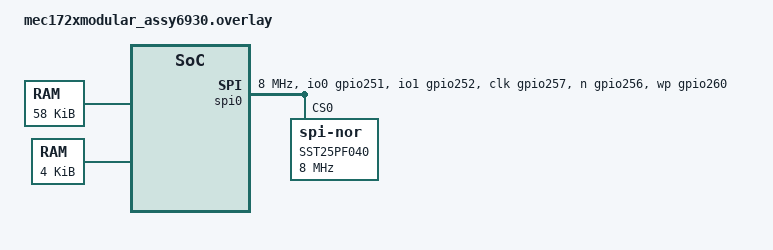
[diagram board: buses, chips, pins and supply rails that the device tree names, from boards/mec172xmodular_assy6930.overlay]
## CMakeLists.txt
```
# SPDX-License-Identifier: Apache-2.0

cmake_minimum_required(VERSION 3.20.0)

find_package(Zephyr REQUIRED HINTS $ENV{ZEPHYR_BASE})
project(ram_retention)

target_sources(app PRIVATE src/main.c)
target_sources(app PRIVATE src/fw_upgrade.c)
```

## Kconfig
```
mainmenu "MCHP firmware update"

source "Kconfig.zephyr"

config APP_SPI_NOR_RESET
	bool
	default y if DT_HAS_MICROCHIP_XEC_SPI_NOR_RESET_ENABLED
	select FLASH_HAS_DRIVER_ENABLED
	select FLASH_HAS_EX_OP
	select FLASH_HAS_PAGE_LAYOUT
	select FLASH_HAS_EXPLICIT_ERASE
```

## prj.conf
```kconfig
# Driver
CONFIG_SPI=y
# CONFIG_SPI_INIT_PRIORITY=49
CONFIG_FLASH=y
# CONFIG_FLASH_EX_OP_ENABLED=y
# CONFIG_FLASH_INIT_PRIORITY=51

# console
CONFIG_CONSOLE=y
CONFIG_UART_CONSOLE=y
CONFIG_LOG=y

#SHELL
CONFIG_SHELL=y
CONFIG_GPIO_SHELL=y
CONFIG_FLASH_SHELL=y
CONFIG_SHELL_PROMPT_UART="MCHP:~$ "

# RETENTION
CONFIG_RETAINED_MEM=y
CONFIG_RETENTION=y

CONFIG_REBOOT=y
```

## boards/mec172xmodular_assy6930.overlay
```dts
/*
 * Copyright (c) 2020 Intel Corporation
 *
 * SPDX-License-Identifier: Apache-2.0
 */


/ {
	chosen {
		zephyr,shell-uart = &uart1;
	};

	aliases {
        tgt-i2c = &i2c_smb_1;
        master-i2c = &i2c_smb_2;
    };

	leds {
		led3: led_1 {
			status = "okay";
		};
		led2: led_2 {
			status = "okay";
		};
	};

	/delete-node/ flash@c0000;
	/delete-node/ memory@118000;
	flash0: flash@c8000 {
		reg = <0x000C8000 0x50000>;
	};

	sram0: memory@118000 {
		compatible = "mmio-sram";
		// reg = <0x00118000 0xf800>;
        reg = <0x00118000 0xe800>;
	};

    retained_mem: memory@127000 {
		compatible = "zephyr,memory-region", "mmio-sram";
		reg = <0x00126800 0x1000>;
		zephyr,memory-region = "SWAP_RAM";
		status = "okay";

		retainedmem {
			compatible = "zephyr,retained-ram";
			status = "okay";
			#address-cells = <1>;
			#size-cells = <1>;

			swap_data0: swap_data@0 {
				compatible = "zephyr,retention";
				status = "okay";
				reg = <0x0 0x1000>;
			};
		};
	};

    spi_gpio_init: spi_gpio_init {
        compatible = "vnd,pinctrl-device";
        pinctrl-0 = < &init_pri_spi_gpio121
                      &init_pri_spi_gpio122
                      &init_pri_spi_gpio123
                      &init_pri_spi_gpio124
                      &init_pri_spi_gpio125
                      &init_pri_spi_gpio126
                      &init_sha_spi_gpio055
                      &init_sha_spi_gpio056
                      &init_sha_spi_gpio223
                      &init_sha_spi_gpio224
                      &init_sha_spi_gpio227
                      &init_sha_spi_gpio016 >;
        pinctrl-names = "default";
        status = "okay";
    };
};

&spi0 {
    compatible = "microchip,xec-qmspi-ldma";
    status = "okay";
    // port-sel = <1>;
    clock-frequency = <DT_FREQ_M(8)>;

    // // For external flash
    // chip-select = < 0x0 >;
    // pinctrl-0 = < &shd_io0_gpio223 
    //               &shd_io1_gpio224
    //               &shd_clk_gpio056
    //               &shd_cs0_n_gpio055 >;
    // gd25lb256: gd25lb256@0 {
	// 	compatible = "jedec,spi-nor";
	// 	size = <DT_SIZE_M(32)>;
	// 	reg = <0>;
	// 	spi-max-frequency = <DT_FREQ_M(8)>;
	// 	jedec-id = [c8 67 19];
	// 	status = "okay";
	// };

    // For internal flash
    pinctrl-0 = < &int_spi_io0_gpio251 
                  &int_spi_io1_gpio252
                  &int_spi_clk_gpio257
                  &int_spi_cs_n_gpio256
                  &int_spi_wp_gpio260 >;
    int_flash: sst25pf040@0 {
        compatible ="jedec,spi-nor";
        size = <DT_SIZE_M(4)>; // 4M bits
        label = "SST25PF040";
        reg = <0>;
        spi-max-frequency = <DT_FREQ_M(8)>; // DT_FREQ_M(40)
        status = "okay";
        jedec-id = [62 06 13];

        // wp-gpios = <MCHP_GPIO_DECODE_260 GPIO_ACTIVE_LOW>;
    };

    pinctrl-names = "default";
};

&pinctrl{
    /* Internal flash */
    /omit-if-no-ref/ int_spi_cs_n_gpio256: int_spi_cs_n_gpio256 {
        pinmux = < MCHP_XEC_PINMUX(0256, MCHP_AF1) >;
    };

    /omit-if-no-ref/ int_spi_clk_gpio257: int_spi_clk_gpio257 {
        pinmux = < MCHP_XEC_PINMUX(0257, MCHP_AF1) >;
    };

    /omit-if-no-ref/ int_spi_io0_gpio251: int_spi_io0_gpio251 {
        pinmux = < MCHP_XEC_PINMUX(0251, MCHP_AF1) >;
    };

    /omit-if-no-ref/ int_spi_io1_gpio252: int_spi_io1_gpio252 {
        pinmux = < MCHP_XEC_PINMUX(0252, MCHP_AF1) >;
    };

    /omit-if-no-ref/ int_spi_wp_gpio260: int_spi_wp_gpio260 {
        pinmux = < MCHP_XEC_PINMUX(0260, MCHP_AF0) >;
    };


    // Init Private SPI
    /omit-if-no-ref/ init_pri_spi_gpio121: init_pri_spi_gpio121 {
        pinmux = < MCHP_XEC_PINMUX(0121, MCHP_AF0) >;
    };
    /omit-if-no-ref/ init_pri_spi_gpio122: init_pri_spi_gpio122 {
        pinmux = < MCHP_XEC_PINMUX(0122, MCHP_AF0) >;
    };
    /omit-if-no-ref/ init_pri_spi_gpio123: init_pri_spi_gpio123 {
        pinmux = < MCHP_XEC_PINMUX(0123, MCHP_AF0) >;
    };
    /omit-if-no-ref/ init_pri_spi_gpio124: init_pri_spi_gpio124 {
        pinmux = < MCHP_XEC_PINMUX(0124, MCHP_AF0) >;
    };
    /omit-if-no-ref/ init_pri_spi_gpio125: init_pri_spi_gpio125 {
        pinmux = < MCHP_XEC_PINMUX(0125, MCHP_AF0) >;
    };
    /omit-if-no-ref/ init_pri_spi_gpio126: init_pri_spi_gpio126 {
        pinmux = < MCHP_XEC_PINMUX(0126, MCHP_AF0) >;
    };


    // Init Shared SPI
    /omit-if-no-ref/ init_sha_spi_gpio055: init_sha_spi_gpio055 {
        pinmux = < MCHP_XEC_PINMUX(0055, MCHP_AF0) >;
    };
    /omit-if-no-ref/ init_sha_spi_gpio056: init_sha_spi_gpio056 {
        pinmux = < MCHP_XEC_PINMUX(0056, MCHP_AF0) >;
    };
    /omit-if-no-ref/ init_sha_spi_gpio223: init_sha_spi_gpio223 {
        pinmux = < MCHP_XEC_PINMUX(0223, MCHP_AF0) >;
    };
    /omit-if-no-ref/ init_sha_spi_gpio224: init_sha_spi_gpio224 {
        pinmux = < MCHP_XEC_PINMUX(0224, MCHP_AF0) >;
    };
    /omit-if-no-ref/ init_sha_spi_gpio227: init_sha_spi_gpio227 {
        pinmux = < MCHP_XEC_PINMUX(0227, MCHP_AF0) >;
    };
    /omit-if-no-ref/ init_sha_spi_gpio016: init_sha_spi_gpio016 {
        pinmux = < MCHP_XEC_PINMUX(0016, MCHP_AF0) >;
    };
};
```

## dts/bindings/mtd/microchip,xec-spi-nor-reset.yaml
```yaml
description: SPI NOR flash with standard read, page program, sector erase, and reset operations; no JEDEC ID probing

compatible: "microchip,xec-spi-nor-reset"

include: spi-device.yaml

properties:
  reg:
    required: true

  spi-max-frequency:
    required: true

  size:
    type: int
    required: true
    description: Flash capacity in bits
```

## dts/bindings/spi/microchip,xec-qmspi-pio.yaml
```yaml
description: Microchip XEC QMSPI controller using programmed I/O FIFO transfers

compatible: "microchip,xec-qmspi-pio"

include: [spi-controller.yaml, pinctrl-device.yaml]

properties:
  reg:
    required: true

  pinctrl-0:
    required: true

  pinctrl-names:
    required: true

  input-clock-frequency:
    type: int
    required: true
    description: QMSPI input clock frequency in Hz

  pcr-sleep-reg:
    type: int
    required: true
    description: Address of the PCR sleep-enable register controlling QMSPI

  pcr-sleep-bit:
    type: int
    required: true
    description: Bit position in pcr-sleep-reg that disables QMSPI sleep

  mode3-signaling:
    type: int
    default: 7
    enum: [3, 7]
    description: QMSPI mode-register signaling value for SPI mode 3

  lines:
    type: int
    const: 1
    required: true
    description: Number of QMSPI data lines; this PIO driver supports single-line mode

  chip_select:
    type: int
    default: 0
    enum: [0, 1]
    description: Hardware QMSPI chip-select index, 0 or 1

  dcsckon:
    type: int
    default: 6
    description: Delay from chip-select assertion to the first clock edge

  dckcsoff:
    type: int
    default: 4
    description: Delay from the last clock edge to chip-select deassertion

  dldh:
    type: int
    default: 6
    description: Delay from chip-select deassertion to HOLD and WP drive

  dcsda:
    type: int
    default: 6
    description: Delay from chip-select deassertion to the next assertion

  mode_alt1:
    type: int
    default: 0
    description: Initial MODE_ALT1 register value restored after controller reset

  taps:
    type: int
    default: 0
    description: Initial TAPS register value restored after controller reset

  taps_adj:
    type: int
    default: 0
    description: Initial TAPS_ADJ register value restored after controller reset

  taps_ctrl:
    type: int
    default: 0
    description: Initial TAPS_CTRL register value restored after controller reset
```

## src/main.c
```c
/*
 * Copyright (c) 2012-2014 Wind River Systems, Inc.
 *
 * SPDX-License-Identifier: Apache-2.0
 */

#include <stdio.h>

#include <zephyr/logging/log.h>

LOG_MODULE_REGISTER(main, LOG_LEVEL_INF);

int main(void)
{
	LOG_INF("Hello World! %s", CONFIG_BOARD_TARGET);

	return 0;
}


#include <zephyr/init.h>

static int init_config(void) {
    int ret;

    return 0;
}

SYS_INIT(init_config, EARLY, 0);
```

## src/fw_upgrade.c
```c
#include <zephyr/kernel.h>
#include <zephyr/device.h>
#include <zephyr/devicetree.h>
#include <zephyr/drivers/flash.h>
// #include <zephyr/drivers/retained_mem.h>
// #include <zephyr/retention/retention.h>
#include <zephyr/logging/log.h>

#include <zephyr/arch/cpu.h> // 引入 ARM 核心底層 API


LOG_MODULE_REGISTER(fw_upgrade, LOG_LEVEL_INF);

#define PAYLOAD_BUF_SIZE 2048

// 確保結構體記憶體對齊與排列順序與 Python 一致
struct __packed shared_exchange_mem {
    uint8_t  payload_buffer[PAYLOAD_BUF_SIZE]; // 1. Payload Buffer (2KB)
    uint32_t total_bin_size;                  // 2. 總 Bin 大小
    uint32_t spi_start_addr;                 // 3. SPI 起始點
    uint32_t current_spi_addr;               // 4. 本次 SPI 寫入起點
    uint32_t chunk_size;                     // 5. 本次 chunk 大小
    volatile uint8_t busy_bit;               // 6. 1: Host寫完/MCU忙碌中, 0: MCU寫完/閒置
};

// static const struct device *retain_dev = DEVICE_DT_GET(DT_NODELABEL(swap_data0));

static struct shared_exchange_mem *shared_mem = (volatile struct shared_exchange_mem *)(0x126800); // swap_data0
static const struct device *flash_dev = DEVICE_DT_GET(DT_NODELABEL(int_flash));

static void service(void)
{
    int ret = 0;
    bool is_first_chunk = true;

    if (!device_is_ready(flash_dev)) {
        LOG_ERR("Flash device not ready");
        return;
    }

    LOG_INF("MCU IPC Exchange Service Started.");

    memset(shared_mem, 0, sizeof(struct shared_exchange_mem));

    while (1) {
        // 6. 等待 busy_bit 立成 1
        if (shared_mem->busy_bit == 0) {
            k_msleep(10); // 等待時 sleep 10ms
            __DSB();
            continue;
        }

        // 第一次收到 payload 時，清除整顆外部 flash
        if (is_first_chunk) {
            LOG_INF("First chunk received. Erasing whole external flash...");
            LOG_INF("Address: 0x%08X, Total Size: 0x%08X", shared_mem->spi_start_addr, shared_mem->total_bin_size);
            // 這裡假設清除大小。實務上可以從 flash_get_page_info 或直接填入晶片總容量
            // 為了展示安全，這裡使用全晶片擦除（注意：可能需要數秒到數十秒，視晶片而定）
            // 如果擦除時間過長，Host 端的 wait 5ms 可能需要調整，或在這裡餵 Watchdog
            ret = flash_erase(flash_dev, shared_mem->spi_start_addr, shared_mem->total_bin_size);
            if (ret != 0) {
                LOG_ERR("Flash erase failed at 0x%08X, len: 0x%08X", shared_mem->spi_start_addr, shared_mem->total_bin_size);
            }
            LOG_INF("image: 0x%02x, 0x%02x, 0x%02x, 0x%02x", 
                shared_mem->payload_buffer[0], 
                shared_mem->payload_buffer[1], 
                shared_mem->payload_buffer[2], 
                shared_mem->payload_buffer[3]);
            is_first_chunk = false;
            LOG_INF("Flash erase completed.");
        }

        // 寫入本次 chunk 資料到外部 SPI Flash
        if (shared_mem->chunk_size > 0 && shared_mem->chunk_size <= PAYLOAD_BUF_SIZE) {
            ret = flash_write(flash_dev, 
                                  shared_mem->current_spi_addr, 
                                  shared_mem->payload_buffer, 
                                  shared_mem->chunk_size);
            if (ret != 0) {
                LOG_ERR("Flash write failed at 0x%08X", shared_mem->current_spi_addr);
            }
        }


        LOG_INF("0x%08x / 0x%08x written to SPI Flash.", shared_mem->current_spi_addr - shared_mem->spi_start_addr, shared_mem->total_bin_size);
        // 寫入結束，將 busy_bit 清除為 0，通知 Host 可以發送下一包
        shared_mem->busy_bit = 0;
    }
}


K_THREAD_DEFINE(fw_upgrade_id, 4096, service, NULL, NULL, NULL, 10,
                0, 0);


#include <zephyr/init.h>
#include <zephyr/drivers/pinctrl.h>

static int gpio_init(void) {

    PINCTRL_DT_DEFINE(DT_NODELABEL(spi_gpio_init));
    const struct pinctrl_dev_config *spi_gpio_init_pcfg =
        PINCTRL_DT_DEV_CONFIG_GET(DT_NODELABEL(spi_gpio_init));
    int ret = pinctrl_apply_state(spi_gpio_init_pcfg, PINCTRL_STATE_DEFAULT);
    if (ret < 0) {
        LOG_ERR("Failed to apply pinctrl state: %d", ret);
        return ret;
    }
	LOG_INF("SPI GPIO initialized successfully");

    return 0;
}

SYS_INIT(gpio_init, POST_KERNEL, 0);
```

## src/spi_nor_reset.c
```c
#define DT_DRV_COMPAT microchip_xec_spi_nor_reset

#include <errno.h>
#include <zephyr/device.h>
#include <zephyr/drivers/flash.h>
#include <zephyr/drivers/spi.h>
#include <zephyr/kernel.h>
#include <zephyr/logging/log.h>
#include <zephyr/sys/util.h>

LOG_MODULE_REGISTER(spi_nor_reset, CONFIG_FLASH_LOG_LEVEL);

#define SPI_NOR_CMD_RESET_ENABLE 0x66
#define SPI_NOR_CMD_RESET_MEMORY 0x99
#define SPI_NOR_CMD_READ 0x03
#define SPI_NOR_CMD_PAGE_PROGRAM 0x02
#define SPI_NOR_CMD_READ_STATUS 0x05
#define SPI_NOR_CMD_WRITE_ENABLE 0x06
#define SPI_NOR_CMD_SECTOR_ERASE 0x20
#define SPI_NOR_STATUS_WIP BIT(0)
#define SPI_NOR_ADDRESS_BYTES 3u
#define SPI_NOR_PAGE_SIZE 256u
#define SPI_NOR_SECTOR_SIZE 4096u
#define SPI_NOR_READY_TIMEOUT_MS 10000u
#define SPI_NOR_READY_POLL_MS 1u

struct spi_nor_reset_config {
	struct spi_dt_spec spi;
	size_t flash_size;
#if defined(CONFIG_FLASH_PAGE_LAYOUT)
	struct flash_pages_layout pages_layout;
#endif
};

struct spi_nor_reset_data {
	struct k_mutex lock;
};

static const struct flash_parameters spi_nor_reset_parameters = {
	.write_block_size = 1,
	.erase_value = 0xff,
};

#if defined(CONFIG_FLASH_PAGE_LAYOUT)
static void spi_nor_reset_pages_layout(const struct device *dev,
				       const struct flash_pages_layout **layout,
				       size_t *layout_size)
{
	const struct spi_nor_reset_config *config = dev->config;

	*layout = &config->pages_layout;
	*layout_size = 1;
}
#endif

static bool spi_nor_reset_range_valid(const struct spi_nor_reset_config *config,
				     off_t offset, size_t len)
{
	return offset >= 0 && (uint64_t)offset <= config->flash_size &&
	       len <= config->flash_size - (size_t)offset;
}

static int spi_nor_reset_write_command(const struct device *dev,
				       const uint8_t *command, size_t command_len,
				       const void *data, size_t data_len)
{
	const struct spi_nor_reset_config *config = dev->config;
	struct spi_buf buffers[2] = {
		{
			.buf = (void *)command,
			.len = command_len,
		},
		{
			.buf = (void *)data,
			.len = data_len,
		},
	};
	struct spi_buf_set tx_buffers = {
		.buffers = buffers,
		.count = data_len ? ARRAY_SIZE(buffers) : 1,
	};

	return spi_write_dt(&config->spi, &tx_buffers);
}

static int spi_nor_reset_read_command(const struct device *dev,
				      const uint8_t *command, size_t command_len,
				      void *data, size_t data_len)
{
	const struct spi_nor_reset_config *config = dev->config;
	struct spi_buf tx_buffer = {
		.buf = (void *)command,
		.len = command_len,
	};
	struct spi_buf rx_buffer = {
		.buf = data,
		.len = data_len,
	};
	struct spi_buf_set tx_buffers = {
		.buffers = &tx_buffer,
		.count = 1,
	};
	struct spi_buf_set rx_buffers = {
		.buffers = &rx_buffer,
		.count = 1,
	};

	int ret = spi_transceive_dt(&config->spi, &tx_buffers, &rx_buffers);

	if (ret) {
		LOG_ERR("SPI command 0x%02x (%zu TX, %zu RX) failed: %d",
			command[0], command_len, data_len, ret);
	}

	return ret;
}

static void spi_nor_reset_make_address(uint8_t *command, uint8_t opcode, off_t offset)
{
	command[0] = opcode;
	command[1] = (uint8_t)(offset >> 16);
	command[2] = (uint8_t)(offset >> 8);
	command[3] = (uint8_t)offset;
}

static int spi_nor_reset_wait_ready(const struct device *dev)
{
	uint8_t command = SPI_NOR_CMD_READ_STATUS;
	uint8_t status;
	int64_t deadline = k_uptime_get() + SPI_NOR_READY_TIMEOUT_MS;
	int ret;

	do {
		ret = spi_nor_reset_read_command(dev, &command, sizeof(command),
						&status, sizeof(status));
		if (ret) {
			return ret;
		}
		if (!(status & SPI_NOR_STATUS_WIP)) {
			return 0;
		}
		k_msleep(SPI_NOR_READY_POLL_MS);
	} while (k_uptime_get() < deadline);

	return -ETIMEDOUT;
}

static int spi_nor_reset_write_enable(const struct device *dev)
{
	uint8_t command = SPI_NOR_CMD_WRITE_ENABLE;

	return spi_nor_reset_write_command(dev, &command, sizeof(command), NULL, 0);
}

static int spi_nor_reset_command(const struct device *dev)
{
	const struct spi_nor_reset_config *config = dev->config;
	uint8_t command = SPI_NOR_CMD_RESET_ENABLE;
	struct spi_buf tx_buffer = {
		.buf = &command,
		.len = sizeof(command),
	};
	struct spi_buf_set tx_buffers = {
		.buffers = &tx_buffer,
		.count = 1,
	};
	int ret;

	ret = spi_write_dt(&config->spi, &tx_buffers);
	if (ret) {
		LOG_ERR("Reset-enable command failed: %d", ret);
		return ret;
	}

	command = SPI_NOR_CMD_RESET_MEMORY;
	ret = spi_write_dt(&config->spi, &tx_buffers);
	if (ret) {
		LOG_ERR("Reset-memory command failed: %d", ret);
	}

	return ret;
}

static int spi_nor_reset_read(const struct device *dev, off_t offset,
			      void *data, size_t len)
{
	const struct spi_nor_reset_config *config = dev->config;
	uint8_t command[SPI_NOR_ADDRESS_BYTES + 1u];
	int ret;

	if (!spi_nor_reset_range_valid(config, offset, len) || (len && data == NULL)) {
		return -EINVAL;
	}
	if (!len) {
		return 0;
	}

	spi_nor_reset_make_address(command, SPI_NOR_CMD_READ, offset);
	k_mutex_lock(&((struct spi_nor_reset_data *)dev->data)->lock, K_FOREVER);
	ret = spi_nor_reset_wait_ready(dev);
	if (!ret) {
		ret = spi_nor_reset_read_command(dev, command, sizeof(command), data, len);
	}
	k_mutex_unlock(&((struct spi_nor_reset_data *)dev->data)->lock);
	if (ret) {
		LOG_ERR("Flash read at 0x%lx (%zu bytes) failed: %d",
			(long)offset, len, ret);
	}

	return ret;
}

static int spi_nor_reset_write(const struct device *dev, off_t offset,
			       const void *data, size_t len)
{
	const struct spi_nor_reset_config *config = dev->config;
	const uint8_t *source = data;
	uint8_t command[SPI_NOR_ADDRESS_BYTES + 1u];
	int ret = 0;

	if (!spi_nor_reset_range_valid(config, offset, len) || (len && data == NULL)) {
		return -EINVAL;
	}
	if (!len) {
		return 0;
	}

	k_mutex_lock(&((struct spi_nor_reset_data *)dev->data)->lock, K_FOREVER);
	while (len) {
		size_t chunk = MIN(len, SPI_NOR_PAGE_SIZE -
					    ((size_t)offset % SPI_NOR_PAGE_SIZE));

		ret = spi_nor_reset_wait_ready(dev);
		if (ret) {
			break;
		}
		ret = spi_nor_reset_write_enable(dev);
		if (ret) {
			break;
		}
		spi_nor_reset_make_address(command, SPI_NOR_CMD_PAGE_PROGRAM, offset);
		ret = spi_nor_reset_write_command(dev, command, sizeof(command),
						 source, chunk);
		if (ret) {
			break;
		}
		ret = spi_nor_reset_wait_ready(dev);
		if (ret) {
			break;
		}

		offset += chunk;
		source += chunk;
		len -= chunk;
	}
	k_mutex_unlock(&((struct spi_nor_reset_data *)dev->data)->lock);

	return ret;
}

static int spi_nor_reset_erase(const struct device *dev, off_t offset, size_t size)
{
	const struct spi_nor_reset_config *config = dev->config;
	uint8_t command[SPI_NOR_ADDRESS_BYTES + 1u];
	int ret = 0;

	if (!spi_nor_reset_range_valid(config, offset, size) ||
	    ((size_t)offset % SPI_NOR_SECTOR_SIZE) != 0u ||
	    (size % SPI_NOR_SECTOR_SIZE) != 0u) {
		return -EINVAL;
	}
	if (!size) {
		return 0;
	}

	k_mutex_lock(&((struct spi_nor_reset_data *)dev->data)->lock, K_FOREVER);
	while (size) {
		ret = spi_nor_reset_wait_ready(dev);
		if (ret) {
			break;
		}
		ret = spi_nor_reset_write_enable(dev);
		if (ret) {
			break;
		}
		spi_nor_reset_make_address(command, SPI_NOR_CMD_SECTOR_ERASE, offset);
		ret = spi_nor_reset_write_command(dev, command, sizeof(command), NULL, 0);
		if (ret) {
			break;
		}
		ret = spi_nor_reset_wait_ready(dev);
		if (ret) {
			break;
		}

		offset += SPI_NOR_SECTOR_SIZE;
		size -= SPI_NOR_SECTOR_SIZE;
	}
	k_mutex_unlock(&((struct spi_nor_reset_data *)dev->data)->lock);

	return ret;
}

static const struct flash_parameters *spi_nor_reset_get_parameters(const struct device *dev)
{
	ARG_UNUSED(dev);

	return &spi_nor_reset_parameters;
}

#if defined(CONFIG_FLASH_EX_OP_ENABLED)
static int spi_nor_reset_ex_op(const struct device *dev, uint16_t code,
			       const uintptr_t in, void *out)
{
	ARG_UNUSED(in);
	ARG_UNUSED(out);

	if (code != FLASH_EX_OP_RESET) {
		return -ENOTSUP;
	}

	k_mutex_lock(&((struct spi_nor_reset_data *)dev->data)->lock, K_FOREVER);
	int ret = spi_nor_reset_command(dev);
	k_mutex_unlock(&((struct spi_nor_reset_data *)dev->data)->lock);

	return ret;
}
#endif

static int spi_nor_reset_init(const struct device *dev)
{
	const struct spi_nor_reset_config *config = dev->config;

	if (!spi_is_ready_dt(&config->spi)) {
		LOG_ERR("SPI bus is not ready");
		return -ENODEV;
	}

	k_mutex_init(&((struct spi_nor_reset_data *)dev->data)->lock);
	return spi_nor_reset_command(dev);
}

static const struct flash_driver_api spi_nor_reset_api = {
	.read = spi_nor_reset_read,
	.write = spi_nor_reset_write,
	.erase = spi_nor_reset_erase,
	.get_parameters = spi_nor_reset_get_parameters,
#if defined(CONFIG_FLASH_PAGE_LAYOUT)
	.page_layout = spi_nor_reset_pages_layout,
#endif
#if defined(CONFIG_FLASH_EX_OP_ENABLED)
	.ex_op = spi_nor_reset_ex_op,
#endif
};

#define SPI_NOR_RESET_DEFINE(inst) \
	static struct spi_nor_reset_data spi_nor_reset_data_##inst; \
	static const struct spi_nor_reset_config spi_nor_reset_config_##inst = { \
		.spi = SPI_DT_SPEC_INST_GET(inst, \
			SPI_OP_MODE_MASTER | SPI_TRANSFER_MSB | SPI_WORD_SET(8), 0), \
		.flash_size = DT_INST_PROP(inst, size) / 8u, \
		IF_ENABLED(CONFIG_FLASH_PAGE_LAYOUT, ( \
			.pages_layout = { \
				.pages_count = DT_INST_PROP(inst, size) / 8u / \
					SPI_NOR_SECTOR_SIZE, \
				.pages_size = SPI_NOR_SECTOR_SIZE, \
			},)) \
	}; \
	DEVICE_DT_INST_DEFINE(inst, spi_nor_reset_init, NULL, \
			      &spi_nor_reset_data_##inst, \
			      &spi_nor_reset_config_##inst, POST_KERNEL, \
			      CONFIG_FLASH_INIT_PRIORITY, &spi_nor_reset_api)

DT_INST_FOREACH_STATUS_OKAY(SPI_NOR_RESET_DEFINE)
```

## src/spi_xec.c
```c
#define DT_DRV_COMPAT microchip_xec_qmspi_pio

#include <errno.h>
#include <zephyr/device.h>
#include <zephyr/drivers/pinctrl.h>
#include <zephyr/drivers/spi.h>
#include <zephyr/kernel.h>
#include <zephyr/logging/log.h>
#include <zephyr/sys/sys_io.h>
#include <zephyr/sys/util.h>

LOG_MODULE_REGISTER(spi_xec_pio, CONFIG_SPI_LOG_LEVEL);

#include <spi/spi_context.h>

#define QMSPI_MODE_OFS              0x00u
#define QMSPI_CTRL_OFS              0x04u
#define QMSPI_EXE_OFS               0x08u
#define QMSPI_STS_OFS               0x10u
#define QMSPI_IEN_OFS               0x18u
#define QMSPI_TX_FIFO_OFS           0x20u
#define QMSPI_RX_FIFO_OFS           0x24u
#define QMSPI_CSTM_OFS              0x28u
#define QMSPI_DESCR0_OFS            0x30u
#define QMSPI_MODE_ALT1_OFS         0xc0u
#define QMSPI_TAPS_OFS               0xd0u
#define QMSPI_TAPS_ADJ_OFS           0xd4u
#define QMSPI_TAPS_CTRL_OFS          0xd8u

#define QMSPI_MODE_ACTIVATE         BIT(0)
#define QMSPI_MODE_SOFT_RESET       BIT(1)
#define QMSPI_MODE_SIG_MASK         0x00000700u
#define QMSPI_MODE_CS_MASK          0x00003000u
#define QMSPI_MODE_FDIV_MASK        0xffff0000u
#define QMSPI_MODE_SIG_POS          8u
#define QMSPI_MODE_CS_POS           12u
#define QMSPI_MODE_FDIV_POS         16u

#define QMSPI_CTRL_IFM_MASK         0x03u
#define QMSPI_CTRL_IFM_SINGLE       0x00u
#define QMSPI_CTRL_TX_DATA          BIT(2)
#define QMSPI_CTRL_RX_ENABLE        BIT(6)
#define QMSPI_CTRL_UNITS_BITS       0x00000000u
#define QMSPI_CTRL_UNITS_BYTES      BIT(10)
#define QMSPI_CTRL_DESCR_LAST       BIT(16)
#define QMSPI_CTRL_DESCR_ENABLE     BIT(16)
#define QMSPI_CTRL_DESCR0           0x00000000u
#define QMSPI_CTRL_MAX_UNITS        0x7fffu
#define QMSPI_CTRL_UNITS_POS        17u

#define QMSPI_EXE_START             BIT(0)
#define QMSPI_EXE_STOP              BIT(1)
#define QMSPI_EXE_CLEAR_FIFOS       BIT(2)

#define QMSPI_STS_DONE              BIT(0)
#define QMSPI_STS_TX_ERROR          BIT(2)
#define QMSPI_STS_RX_ERROR          BIT(3)
#define QMSPI_STS_PROGRAM_ERROR     BIT(4)
#define QMSPI_STS_TX_FULL           BIT(8)
#define QMSPI_STS_RX_EMPTY          BIT(13)
#define QMSPI_STS_ACTIVE            BIT(16)
#define QMSPI_STS_CLEAR_MASK        0x0000cc7fu
#define QMSPI_STS_ERROR_MASK        (QMSPI_STS_TX_ERROR | QMSPI_STS_RX_ERROR | \
					 QMSPI_STS_PROGRAM_ERROR)

#define QMSPI_FIFO_DEPTH            8u
#define QMSPI_TRANSFER_TIMEOUT_MS   100u

struct spi_xec_config {
	uintptr_t base;
	uint32_t input_clock_hz;
	uint32_t cs_timing;
	uintptr_t pcr_sleep_reg;
	uint8_t mode3_signaling;
	uint8_t pcr_sleep_bit;
	uint8_t chip_select;
	const struct pinctrl_dev_config *pinctrl;
};

struct spi_xec_data {
	struct spi_context ctx;
};

static inline uint32_t qmspi_read(const struct spi_xec_config *cfg, uint32_t offset)
{
	return sys_read32(cfg->base + offset);
}

static inline void qmspi_write(const struct spi_xec_config *cfg, uint32_t offset,
			       uint32_t value)
{
	sys_write32(value, cfg->base + offset);
}

static int qmspi_reset(const struct spi_xec_config *cfg)
{
	uint32_t timing[5];
	uint32_t mode;

	mode = qmspi_read(cfg, QMSPI_MODE_OFS);
	timing[0] = qmspi_read(cfg, QMSPI_CSTM_OFS);
	timing[1] = qmspi_read(cfg, QMSPI_MODE_ALT1_OFS);
	timing[2] = qmspi_read(cfg, QMSPI_TAPS_OFS);
	timing[3] = qmspi_read(cfg, QMSPI_TAPS_ADJ_OFS);
	timing[4] = qmspi_read(cfg, QMSPI_TAPS_CTRL_OFS);

	qmspi_write(cfg, QMSPI_MODE_OFS, QMSPI_MODE_SOFT_RESET);
	for (uint32_t timeout = 0; timeout < QMSPI_TRANSFER_TIMEOUT_MS; timeout++) {
		if (!(qmspi_read(cfg, QMSPI_MODE_OFS) & QMSPI_MODE_SOFT_RESET)) {
			qmspi_write(cfg, QMSPI_MODE_OFS,
				    mode & ~(QMSPI_MODE_ACTIVATE | QMSPI_MODE_SOFT_RESET));
			qmspi_write(cfg, QMSPI_CSTM_OFS, timing[0]);
			qmspi_write(cfg, QMSPI_MODE_ALT1_OFS, timing[1]);
			qmspi_write(cfg, QMSPI_TAPS_OFS, timing[2]);
			qmspi_write(cfg, QMSPI_TAPS_ADJ_OFS, timing[3]);
			qmspi_write(cfg, QMSPI_TAPS_CTRL_OFS, timing[4]);
			qmspi_write(cfg, QMSPI_IEN_OFS, 0u);
			qmspi_write(cfg, QMSPI_CTRL_OFS, QMSPI_CTRL_IFM_SINGLE);
			qmspi_write(cfg, QMSPI_EXE_OFS, QMSPI_EXE_CLEAR_FIFOS);
			qmspi_write(cfg, QMSPI_STS_OFS, QMSPI_STS_CLEAR_MASK);
			return 0;
		}
		k_busy_wait(1);
	}

	return -ETIMEDOUT;
}

static int qmspi_wait_done(const struct spi_xec_config *cfg, bool receive,
			   uint8_t **rx, size_t remaining)
{
	int64_t deadline = k_uptime_get() + QMSPI_TRANSFER_TIMEOUT_MS;

	while (true) {
		uint32_t status = qmspi_read(cfg, QMSPI_STS_OFS);

		if (status & QMSPI_STS_ERROR_MASK) {
			return -EIO;
		}

		if (receive && remaining && !(status & QMSPI_STS_RX_EMPTY)) {
			uint8_t value = sys_read8(cfg->base + QMSPI_RX_FIFO_OFS);

			if (*rx) {
				*(*rx)++ = value;
			}
			remaining--;
		}

		if ((status & QMSPI_STS_DONE) && (!receive || remaining == 0u)) {
			return 0;
		}

		if (k_uptime_get() >= deadline) {
			return -ETIMEDOUT;
		}

		k_busy_wait(1);
	}
}

static int qmspi_transfer_chunk(const struct spi_xec_config *cfg,
				const uint8_t *tx, uint8_t *rx, size_t len,
				bool dummy_tx)
{
	uint32_t descriptor;
	size_t queued = 0;
	size_t received = 0;
	int64_t deadline = k_uptime_get() + QMSPI_TRANSFER_TIMEOUT_MS;
	bool receive = rx != NULL || (tx == NULL && !dummy_tx);

	if (receive) {
		descriptor = QMSPI_CTRL_IFM_SINGLE | QMSPI_CTRL_RX_ENABLE |
			     QMSPI_CTRL_UNITS_BYTES | QMSPI_CTRL_DESCR_LAST |
			     ((uint32_t)len << QMSPI_CTRL_UNITS_POS);
	} else if (dummy_tx) {
		descriptor = QMSPI_CTRL_IFM_SINGLE | QMSPI_CTRL_UNITS_BITS |
			     QMSPI_CTRL_DESCR_LAST |
			     ((uint32_t)(len * 8u) << QMSPI_CTRL_UNITS_POS);
	} else {
		descriptor = QMSPI_CTRL_IFM_SINGLE | QMSPI_CTRL_TX_DATA |
			     QMSPI_CTRL_UNITS_BYTES | QMSPI_CTRL_DESCR_LAST |
			     ((uint32_t)len << QMSPI_CTRL_UNITS_POS);
	}

	qmspi_write(cfg, QMSPI_DESCR0_OFS, descriptor);
	qmspi_write(cfg, QMSPI_CTRL_OFS,
		    QMSPI_CTRL_IFM_SINGLE | QMSPI_CTRL_DESCR_ENABLE |
		    QMSPI_CTRL_DESCR0);
	qmspi_write(cfg, QMSPI_STS_OFS, QMSPI_STS_CLEAR_MASK);

	if (!receive && !dummy_tx) {
		while (queued < len && queued < QMSPI_FIFO_DEPTH) {
			if (qmspi_read(cfg, QMSPI_STS_OFS) & QMSPI_STS_TX_FULL) {
				break;
			}
			sys_write8(tx[queued++], cfg->base + QMSPI_TX_FIFO_OFS);
		}
	}

	qmspi_write(cfg, QMSPI_EXE_OFS, QMSPI_EXE_START);

	if (!receive && !dummy_tx) {
		while (queued < len) {
			uint32_t status = qmspi_read(cfg, QMSPI_STS_OFS);

			if (status & QMSPI_STS_ERROR_MASK) {
				return -EIO;
			}
			if (!(status & QMSPI_STS_TX_FULL)) {
				sys_write8(tx[queued++], cfg->base + QMSPI_TX_FIFO_OFS);
			}
			if (k_uptime_get() >= deadline) {
				return -ETIMEDOUT;
			}
			k_busy_wait(1);
		}
	}

	if (receive) {
		while (received < len) {
			uint32_t status = qmspi_read(cfg, QMSPI_STS_OFS);

			if (status & QMSPI_STS_ERROR_MASK) {
				return -EIO;
			}
			if (!(status & QMSPI_STS_RX_EMPTY)) {
				uint8_t value = sys_read8(cfg->base + QMSPI_RX_FIFO_OFS);

				if (rx) {
					rx[received] = value;
				}
				received++;
			}
			if (k_uptime_get() >= deadline) {
				return -ETIMEDOUT;
			}
			k_busy_wait(1);
		}
	}

	return qmspi_wait_done(cfg, false, NULL, 0);
}

static int qmspi_transfer_buffer(const struct spi_xec_config *cfg,
				 const struct spi_buf *buf, bool is_tx)
{
	const uint8_t *tx = is_tx ? buf->buf : NULL;
	uint8_t *rx = is_tx ? NULL : buf->buf;
	size_t remaining = buf->len;
	bool dummy_tx = is_tx && buf->buf == NULL;

	while (remaining) {
		size_t max_chunk = dummy_tx ? QMSPI_CTRL_MAX_UNITS / 8u :
						 QMSPI_CTRL_MAX_UNITS;
		size_t chunk = MIN(remaining, max_chunk);
		int ret = qmspi_transfer_chunk(cfg, tx, rx, chunk, dummy_tx);

		if (ret) {
			return ret;
		}
		if (tx) {
			tx += chunk;
		}
		if (rx) {
			rx += chunk;
		}
		remaining -= chunk;
	}

	return 0;
}

static int qmspi_configure(const struct device *dev, const struct spi_config *spi_cfg)
{
	const struct spi_xec_config *cfg = dev->config;
	struct spi_xec_data *data = dev->data;
	uint32_t mode;
	uint32_t signaling;
	uint32_t divider;
	uint32_t operation;

	if (!spi_cfg) {
		return -EINVAL;
	}
	if (spi_context_configured(&data->ctx, spi_cfg)) {
		return 0;
	}
	operation = spi_cfg->operation;
	if (operation & (SPI_TRANSFER_LSB | SPI_OP_MODE_SLAVE | SPI_MODE_LOOP |
			 SPI_HALF_DUPLEX | SPI_CS_ACTIVE_HIGH | SPI_LOCK_ON)) {
		return -ENOTSUP;
	}
	if (SPI_WORD_SIZE_GET(operation) != 8) {
		return -ENOTSUP;
	}
#ifdef CONFIG_SPI_EXTENDED_MODES
	if ((operation & SPI_LINES_MASK) != SPI_LINES_SINGLE) {
		return -ENOTSUP;
	}
#endif

	mode = qmspi_read(cfg, QMSPI_MODE_OFS) & ~QMSPI_MODE_FDIV_MASK;
	if (spi_cfg->frequency == 0u) {
		divider = 0u;
	} else {
		divider = DIV_ROUND_UP(cfg->input_clock_hz, spi_cfg->frequency);
		if (divider > 0xffffu) {
			divider = 0u;
		} else if (divider == 0u) {
			divider = 1u;
		}
	}
	mode |= (divider << QMSPI_MODE_FDIV_POS) & QMSPI_MODE_FDIV_MASK;
	qmspi_write(cfg, QMSPI_MODE_OFS, mode);

	signaling = 0u;
	if (operation & SPI_MODE_CPHA) {
		signaling |= BIT(0);
	}
	if (operation & SPI_MODE_CPOL) {
		signaling |= BIT(1);
	}
	{
		uint8_t signaling_modes[4] = { 0u, 6u, 1u, cfg->mode3_signaling };

		mode = qmspi_read(cfg, QMSPI_MODE_OFS) & ~QMSPI_MODE_SIG_MASK;
		mode |= (uint32_t)signaling_modes[signaling] << QMSPI_MODE_SIG_POS;
		mode &= ~QMSPI_MODE_CS_MASK;
		mode |= (uint32_t)cfg->chip_select << QMSPI_MODE_CS_POS;
		qmspi_write(cfg, QMSPI_MODE_OFS, mode);
	}

	qmspi_write(cfg, QMSPI_CTRL_OFS, QMSPI_CTRL_IFM_SINGLE);
	qmspi_write(cfg, QMSPI_CSTM_OFS, cfg->cs_timing);
	data->ctx.config = spi_cfg;
	qmspi_write(cfg, QMSPI_MODE_OFS,
		    qmspi_read(cfg, QMSPI_MODE_OFS) | QMSPI_MODE_ACTIVATE);

	return 0;
}

static int qmspi_transceive(const struct device *dev, const struct spi_config *spi_cfg,
			    const struct spi_buf_set *tx_bufs,
			    const struct spi_buf_set *rx_bufs)
{
	const struct spi_xec_config *cfg = dev->config;
	struct spi_xec_data *data = dev->data;
	int ret;

	if (!tx_bufs && !rx_bufs) {
		return 0;
	}
	if (!spi_cfg) {
		return -EINVAL;
	}
	spi_context_lock(&data->ctx, false, NULL, NULL, spi_cfg);
	ret = qmspi_configure(dev, spi_cfg);
	if (ret) {
		LOG_ERR("QMSPI configure failed: %d", ret);
		goto out;
	}

	qmspi_write(cfg, QMSPI_EXE_OFS, QMSPI_EXE_CLEAR_FIFOS);
	spi_context_cs_control(&data->ctx, true);
	if (tx_bufs) {
		for (size_t i = 0; i < tx_bufs->count; i++) {
			ret = qmspi_transfer_buffer(cfg, &tx_bufs->buffers[i], true);
			if (ret) {
				LOG_ERR("QMSPI TX buffer %zu failed: %d (STS=%08x CTRL=%08x)",
					i, ret, qmspi_read(cfg, QMSPI_STS_OFS),
					qmspi_read(cfg, QMSPI_CTRL_OFS));
				goto stop;
			}
		}
	}
	if (rx_bufs) {
		for (size_t i = 0; i < rx_bufs->count; i++) {
			ret = qmspi_transfer_buffer(cfg, &rx_bufs->buffers[i], false);
			if (ret) {
				LOG_ERR("QMSPI RX buffer %zu failed: %d (STS=%08x CTRL=%08x)",
					i, ret, qmspi_read(cfg, QMSPI_STS_OFS),
					qmspi_read(cfg, QMSPI_CTRL_OFS));
				goto stop;
			}
		}
	}
	ret = 0;

stop:
	if (!(spi_cfg->operation & SPI_HOLD_ON_CS) || ret) {
		int64_t deadline = k_uptime_get() + QMSPI_TRANSFER_TIMEOUT_MS;

		qmspi_write(cfg, QMSPI_EXE_OFS, QMSPI_EXE_STOP);
		while (qmspi_read(cfg, QMSPI_STS_OFS) & QMSPI_STS_ACTIVE) {
			if (k_uptime_get() >= deadline) {
				if (!ret) {
					ret = -ETIMEDOUT;
				}
				break;
			}
			k_busy_wait(1);
		}
		spi_context_cs_control(&data->ctx, false);
	}
out:
	spi_context_release(&data->ctx, ret);
	return ret;
}

static int qmspi_release(const struct device *dev, const struct spi_config *spi_cfg)
{
	const struct spi_xec_config *cfg = dev->config;
	struct spi_xec_data *data = dev->data;
	int64_t deadline = k_uptime_get() + QMSPI_TRANSFER_TIMEOUT_MS;

	qmspi_write(cfg, QMSPI_EXE_OFS, QMSPI_EXE_STOP);
	while (qmspi_read(cfg, QMSPI_STS_OFS) & QMSPI_STS_ACTIVE) {
		if (k_uptime_get() >= deadline) {
			spi_context_unlock_unconditionally(&data->ctx);
			return -ETIMEDOUT;
		}
		k_busy_wait(1);
	}
	spi_context_unlock_unconditionally(&data->ctx);
	return 0;
}

static int qmspi_init(const struct device *dev)
{
	const struct spi_xec_config *cfg = dev->config;
	struct spi_xec_data *data = dev->data;
	uint32_t pcr_value;
	int ret;

	ret = pinctrl_apply_state(cfg->pinctrl, PINCTRL_STATE_DEFAULT);
	if (ret) {
		return ret;
	}
	pcr_value = sys_read32(cfg->pcr_sleep_reg);
	sys_write32(pcr_value & ~BIT(cfg->pcr_sleep_bit), cfg->pcr_sleep_reg);

	ret = qmspi_reset(cfg);
	if (ret) {
		return ret;
	}
	spi_context_unlock_unconditionally(&data->ctx);
	return 0;
}

static const struct spi_driver_api qmspi_driver_api = {
	.transceive = qmspi_transceive,
	.release = qmspi_release,
};

#define QMSPI_CS_TIMING(inst) \
	(DT_INST_PROP_OR(inst, dcsckon, 6) | \
	 (DT_INST_PROP_OR(inst, dckcsoff, 4) << 8) | \
	 (DT_INST_PROP_OR(inst, dldh, 6) << 16) | \
	 (DT_INST_PROP_OR(inst, dcsda, 6) << 24))

#define QMSPI_PIO_INIT(inst) \
	PINCTRL_DT_INST_DEFINE(inst); \
	static struct spi_xec_data spi_xec_data_##inst = { \
		SPI_CONTEXT_INIT_LOCK(spi_xec_data_##inst, ctx), \
		SPI_CONTEXT_INIT_SYNC(spi_xec_data_##inst, ctx), \
		SPI_CONTEXT_CS_GPIOS_INITIALIZE(DT_DRV_INST(inst), ctx) \
	}; \
	static const struct spi_xec_config spi_xec_config_##inst = { \
		.base = DT_INST_REG_ADDR(inst), \
		.input_clock_hz = DT_INST_PROP(inst, input_clock_frequency), \
		.cs_timing = QMSPI_CS_TIMING(inst), \
		.pcr_sleep_reg = DT_INST_PROP(inst, pcr_sleep_reg), \
		.mode3_signaling = DT_INST_PROP_OR(inst, mode3_signaling, 7), \
		.pcr_sleep_bit = DT_INST_PROP(inst, pcr_sleep_bit), \
		.chip_select = DT_INST_PROP_OR(inst, chip_select, 0), \
		.pinctrl = PINCTRL_DT_INST_DEV_CONFIG_GET(inst), \
	}; \
	DEVICE_DT_INST_DEFINE(inst, qmspi_init, NULL, &spi_xec_data_##inst, \
			      &spi_xec_config_##inst, POST_KERNEL, \
			      CONFIG_SPI_INIT_PRIORITY, &qmspi_driver_api)

DT_INST_FOREACH_STATUS_OKAY(QMSPI_PIO_INIT)
```
